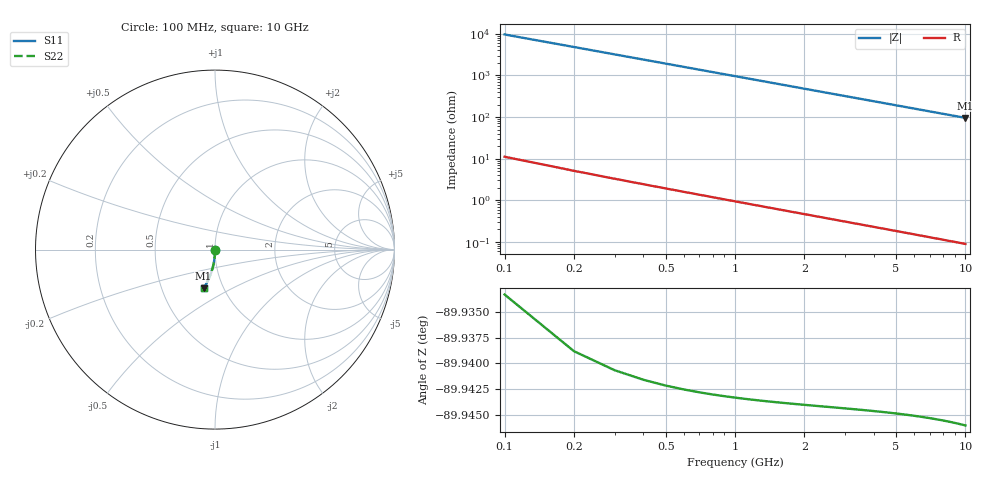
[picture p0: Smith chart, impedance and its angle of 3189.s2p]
# Hz S RI R 50.00
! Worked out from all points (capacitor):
!   100 points, 100 MHz to 10 GHz, reference 50 ohm
!   read as one part in shunt: C = 166 fF near 100 MHz
!   lowest |Z| = 95.7 ohm at 10 GHz (marker M1)
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1e8  0.000131 -0.0023  0.9998 -0.00291  0.9998 -0.00291  0.000131 -0.0023
2e8  0.00011 -0.00461  0.9998 -0.00582  0.9998 -0.00582  0.00011 -0.00461
3e8  7.43e-05 -0.00691  0.9998 -0.00873  0.9998 -0.00873  7.43e-05 -0.00691
4e8  2.54e-05 -0.00921  0.9997 -0.0116  0.9997 -0.0116  2.54e-05 -0.00921
5e8  -3.69e-05 -0.0115  0.9997 -0.0145  0.9997 -0.0145  -3.69e-05 -0.0115
6e8  -0.000113 -0.0138  0.9996 -0.0175  0.9996 -0.0175  -0.000113 -0.0138
7e8  -0.000202 -0.0161  0.9995 -0.0204  0.9995 -0.0204  -0.000202 -0.0161
8e8  -0.000305 -0.0184  0.9994 -0.0233  0.9994 -0.0233  -0.000305 -0.0184
9e8  -0.000421 -0.0207  0.9993 -0.0262  0.9993 -0.0262  -0.000421 -0.0207
1.1e9  -0.000693 -0.0253  0.999 -0.032  0.999 -0.032  -0.000693 -0.0253
1.4e9  -0.0012 -0.0322  0.9985 -0.0407  0.9985 -0.0407  -0.0012 -0.0322
1.8e9  -0.00207 -0.0414  0.9976 -0.0523  0.9976 -0.0523  -0.00207 -0.0414
2.1e9  -0.00286 -0.0483  0.9968 -0.061  0.9968 -0.061  -0.00286 -0.0483
2.5e9  -0.0041 -0.0574  0.9955 -0.0726  0.9955 -0.0726  -0.0041 -0.0574
2.9e9  -0.00555 -0.0665  0.994 -0.0841  0.994 -0.0841  -0.00555 -0.0665
3.4e9  -0.00765 -0.0778  0.9918 -0.0984  0.9918 -0.0984  -0.00765 -0.0778
4.2e9  -0.0117 -0.0957  0.9877 -0.1212  0.9877 -0.1212  -0.0117 -0.0957
5.1e9  -0.0172 -0.1156  0.982 -0.1466  0.982 -0.1466  -0.0172 -0.1156
5.9e9  -0.023 -0.133  0.976 -0.1689  0.976 -0.1689  -0.023 -0.133
6.7e9  -0.0295 -0.15  0.9693 -0.1908  0.9693 -0.1908  -0.0295 -0.15
8.4e9  -0.0459 -0.1848  0.9525 -0.2361  0.9525 -0.2361  -0.0459 -0.1848
1e10  -0.064 -0.2157  0.9338 -0.2768  0.9338 -0.2768  -0.064 -0.2157
